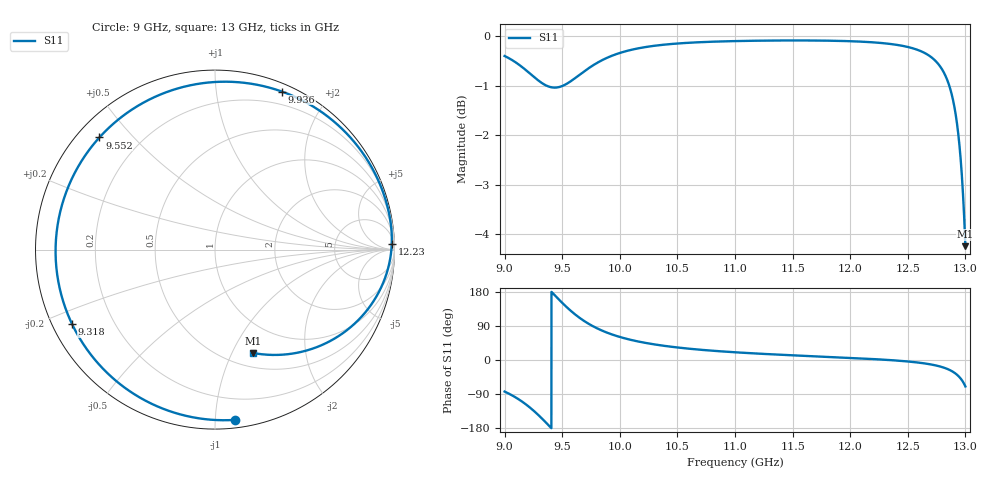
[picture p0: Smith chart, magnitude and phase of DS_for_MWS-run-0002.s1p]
! TOUCHSTONE file generated by CST DESIGN STUDIO
! Date and time: Tue Feb  4 18:04:47 2025
! Project name: C:\Work\MatlabApps\UnitCellOptimizationMatlab\CST\unitcell.cst
! Tree item: Tasks\Sweep1\SPara1\S-Parameters
! Header version: 2024
! Port assignment regex: !\s*Touchstone port\s*([0-9]+)\s*=\s*(CST MWS port|CST DES external port|CST DES block port)\s*(.+)\s* \(\"(.*)\"\)(\s*mode\s*([0-9]+))?.*
! Touchstone port assignment:
! Touchstone port 1 = CST DES external port 1 ("")
# GHz S MA R 50
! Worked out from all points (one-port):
!   4001 points, 9 GHz to 13 GHz, reference 50 ohm
!   lowest |S11| = -4.2 dB at 13 GHz (marker M1), VSWR 4.18, Z = 32.7 - j60.5 ohm
!   |S11| at or under -10 dB: nowhere
!   S11 on the Smith chart (normalised r, x): 9 GHz: 0.05, -1.12; 9.318 GHz: 0.06, -0.24; 9.552 GHz: 0.06, +0.40; 9.936 GHz: 0.07, +1.51; 12.23 GHz: 22, +50; 13 GHz: 0.65, -1.21
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9  0.9553 -83.3
9.095  0.9414 -98.6
9.173  0.9269 -114.4
9.245  0.9119 -131.9
9.318  0.898 -152.5
9.365  0.8915 -167.0
9.409  0.8881 179.1
9.453  0.8878 165.2
9.5  0.8908 150.8
9.552  0.8974 135.8
9.628  0.9103 116.5
9.71  0.9252 99.1
9.821  0.9426 81.0
9.936  0.9562 67.0
10  0.962 60.8
10.216  0.975 45.5
10.5  0.9834 33.1
11  0.989 20.4
11.5  0.9904 12.4
12  0.9887 5.5
12.232  0.9854 1.9
12.5  0.9755 -3.9
12.719  0.9495 -12.8
12.847  0.9006 -24.1
12.891  0.8641 -30.9
12.928  0.815 -39.1
12.968  0.7273 -52.6
13  0.6139 -69.8
